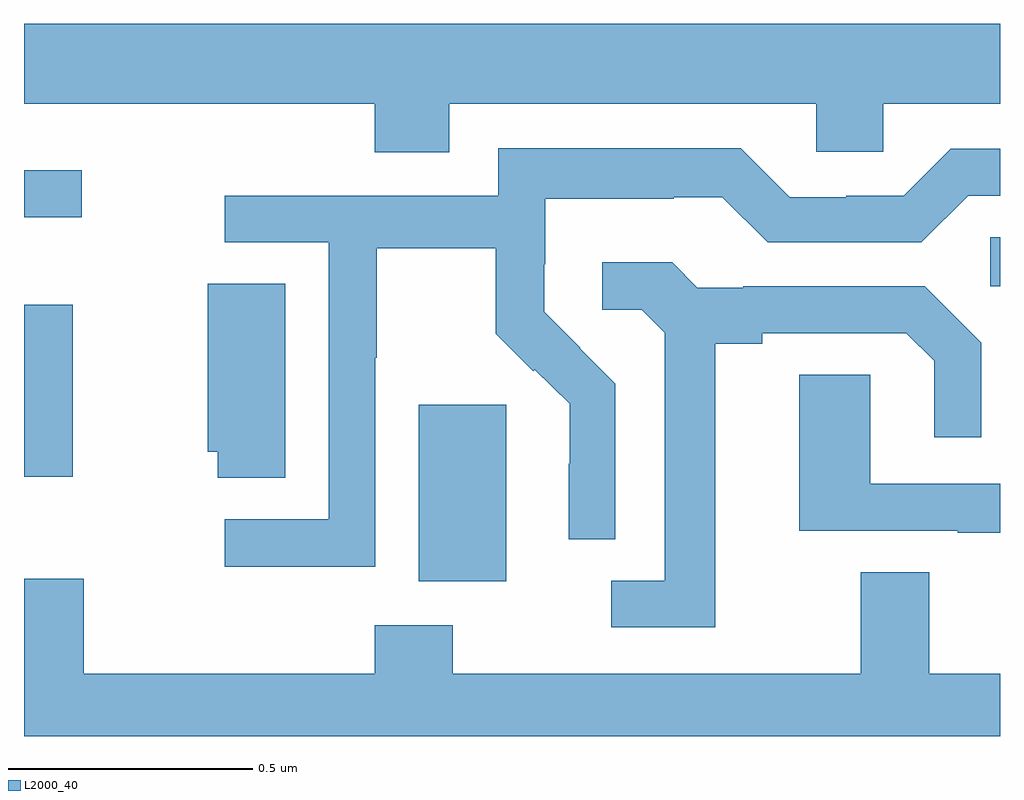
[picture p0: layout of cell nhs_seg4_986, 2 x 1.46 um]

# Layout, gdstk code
import gdstk
lib = gdstk.Library(unit=1e-6, precision=1e-09)
def R(c, l, rs):  # rectangles x0, y0, x1, y1
    for r in rs: c.add(gdstk.rectangle(r[:2], r[2:], *l))
def P(c, l, *ps):  # polygons
    for p in ps: c.add(gdstk.Polygon(p, *l))
L2000_40 = (2000, 40)

nhs_seg4_986 = lib.new_cell('nhs_seg4_986')
R(nhs_seg4_986, L2000_40, [(123.809,753.218,123.988,753.579), (123,753.432,123.1,753.784), (124.98,753.822,125,753.923), (123,753.963,123.118,754.06)])
P(nhs_seg4_986, L2000_40, [(123.871,754.196),(124.623,754.196),(124.623,754.098),(124.761,754.098),(124.761,754.196),(125,754.196),(125,754.36),(123,754.36),(123,754.196),(123.719,754.196),(123.719,754.097),(123.871,754.097)],
  [(123.624,753.912),(123.624,753.345),(123.411,753.345),(123.411,753.247),(123.72,753.247),(123.72,753.676),(123.723,753.676),(123.723,753.9),(123.967,753.9),(123.967,753.725),(124.044,753.648),(124.047,753.651),(124.118,753.581),(124.118,753.458),(124.116,753.458),(124.116,753.304),(124.212,753.304),(124.212,753.622),(124.139,753.695),(124.14,753.696),(124.066,753.77),(124.066,753.867),(124.068,753.867),(124.068,754.001),(124.331,754.001),(124.331,754.005),(124.431,754.005),(124.524,753.912),(124.839,753.912),(124.935,754.008),(125,754.008),(125,754.104),(124.899,754.104),(124.803,754.008),(124.685,754.008),(124.685,754.005),(124.569,754.005),(124.469,754.105),(123.972,754.105),(123.972,754.008),(123.411,754.008),(123.411,753.912)],
  [(124.417,753.704),(124.513,753.704),(124.513,753.726),(124.808,753.726),(124.865,753.669),(124.865,753.513),(124.962,753.513),(124.962,753.706),(124.846,753.822),(124.474,753.822),(124.474,753.819),(124.38,753.819),(124.328,753.871),(124.185,753.871),(124.185,753.774),(124.266,753.774),(124.313,753.727),(124.313,753.219),(124.203,753.219),(124.203,753.123),(124.417,753.123)],
  [(123.535,753.827),(123.377,753.827),(123.377,753.483),(123.397,753.483),(123.397,753.43),(123.535,753.43)],
  [(125,753.417),(124.734,753.417),(124.734,753.641),(124.589,753.641),(124.589,753.321),(124.913,753.321),(124.913,753.317),(125,753.317)],
  [(125,753.028),(124.855,753.028),(124.855,753.236),(124.715,753.236),(124.715,753.028),(123.879,753.028),(123.879,753.127),(123.719,753.127),(123.719,753.028),(123.122,753.028),(123.122,753.223),(123,753.223),(123,752.9),(125,752.9)])

lib.write_gds('nhs_seg4_986.gds')
